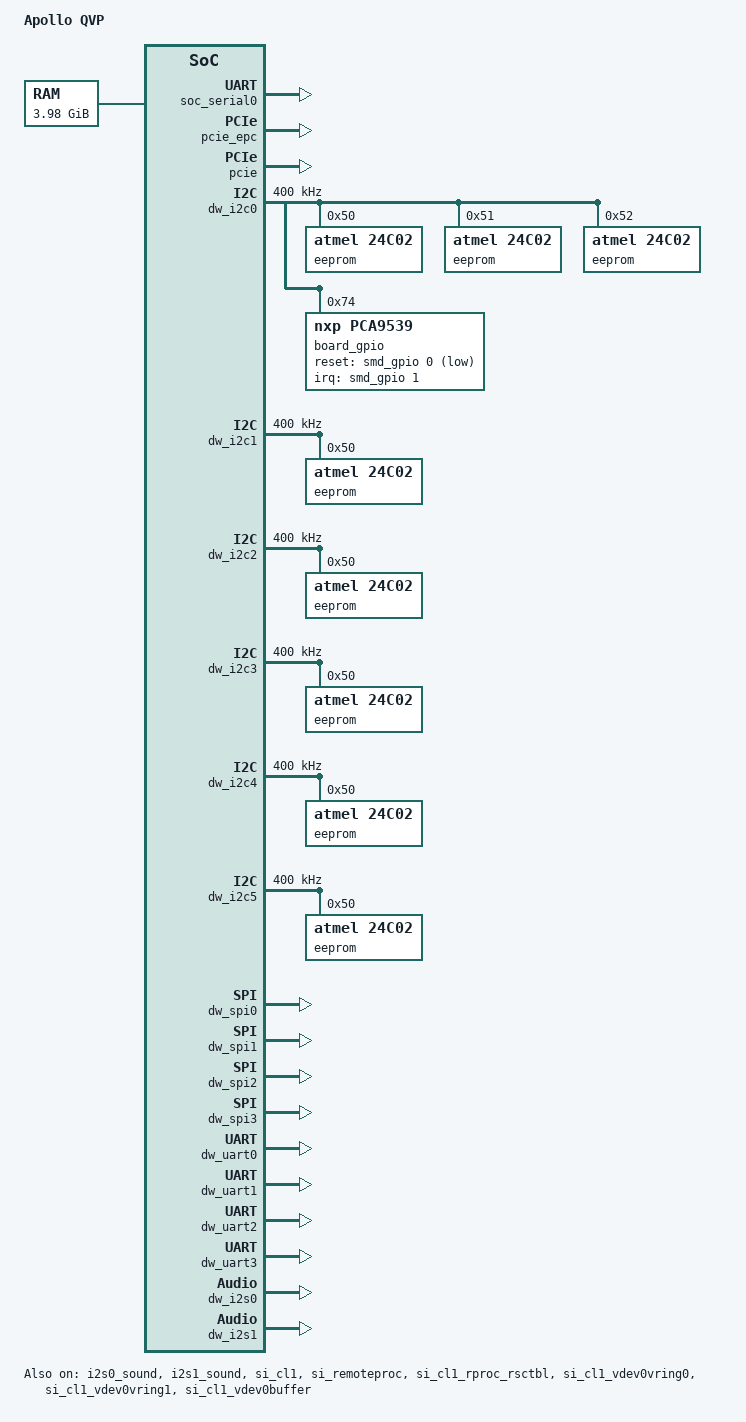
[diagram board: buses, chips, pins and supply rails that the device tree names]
// SPDX-License-Identifier: (GPL-2.0 OR BSD-3-Clause)
/*
 * Copyright (c) 2025-2026, Arm Limited. All rights reserved.
 */

/dts-v1/;

#include "apollo-qvp.dtsi"
#include <dt-bindings/gpio/gpio.h>

/*
 * Existing QVP population; Saturn-V schematic parity is unverified.
 * TPS6594 and its regulators/GPIO remain owned by SI CL0 firmware.
 */
/ {
	model = "Apollo QVP";
	compatible = "arm,apollo-qvp", "arm,zena-css", "arm,vexpress";

	aliases {
		i2c0 = &dw_i2c0;
		i2c1 = &dw_i2c1;
		i2c2 = &dw_i2c2;
		i2c3 = &dw_i2c3;
		i2c4 = &dw_i2c4;
		i2c5 = &dw_i2c5;
		rtc0 = &{/soc/rtc@300d0000};
		serial0 = &dw_uart0;
		serial1 = &dw_uart1;
		serial2 = &dw_uart2;
		serial3 = &dw_uart3;
		spi0 = &dw_spi0;
		spi1 = &dw_spi1;
		spi2 = &dw_spi2;
		spi3 = &dw_spi3;
	};

	chosen {
		stdout-path = &soc_serial0;
	};

	memory@80000000 {
		device_type = "memory";

		/* ~2GB mapped at 2GB, another 2GB at 2TB */
		reg = <0x00000000 0x80000000 0x00000000 0x7f000000>,
		      <0x00000200 0x00000000 0x00000000 0x80000000>;
	};
};

&soc_serial0 {
	status = "okay";
};

&smd_gpio {
	gpio-line-names =
		"smd-gpio0", "smd-gpio1", "smd-gpio2", "smd-gpio3",
		"smd-gpio4", "smd-gpio5", "smd-gpio6", "smd-gpio7";

	status = "okay";
};

&pcie_epc {
	status = "okay";
};

&pcie {
	status = "okay";
};

&smmu {
	status = "okay";
};

&dma350_0 {
	status = "okay";
};

&dma350_1 {
	status = "okay";
};

&dw_i2c0 {
	clock-frequency = <400000>;
	pinctrl-names = "default";
	pinctrl-0 = <&i2c0_pins>;

	status = "okay";

	eeprom@50 {
		compatible = "atmel,24c02";
		reg = <0x50>;
		pagesize = <8>;
	};

	/* Three independent 24C02 targets share this controller. */
	eeprom@51 {
		compatible = "atmel,24c02";
		reg = <0x51>;
		pagesize = <8>;
	};

	eeprom@52 {
		compatible = "atmel,24c02";
		reg = <0x52>;
		pagesize = <8>;
	};

	board_gpio: gpio@74 {
		compatible = "nxp,pca9539";
		reg = <0x74>;
		gpio-controller;
		#gpio-cells = <2>;
		interrupt-controller;
		#interrupt-cells = <2>;
		interrupt-parent = <&smd_gpio>;
		interrupts = <1 IRQ_TYPE_LEVEL_LOW>;
		reset-gpios = <&smd_gpio 0 GPIO_ACTIVE_LOW>;
		gpio-line-names =
			"pca9539-loop-out0", "pca9539-loop-in1",
			"pca9539-gpio2", "pca9539-gpio3",
			"pca9539-gpio4", "pca9539-gpio5",
			"pca9539-gpio6", "pca9539-gpio7",
			"pca9539-loop-out8", "pca9539-loop-in9",
			"pca9539-gpio10", "pca9539-gpio11",
			"pca9539-gpio12", "pca9539-gpio13",
			"pca9539-gpio14", "pca9539-gpio15";
	};
};

&dw_i2c1 {
	clock-frequency = <400000>;
	pinctrl-names = "default";
	pinctrl-0 = <&i2c1_pins>;

	status = "okay";

	eeprom@50 {
		compatible = "atmel,24c02";
		reg = <0x50>;
		pagesize = <8>;
	};
};

&dw_i2c2 {
	clock-frequency = <400000>;
	pinctrl-names = "default";
	pinctrl-0 = <&i2c2_pins>;

	status = "okay";

	eeprom@50 {
		compatible = "atmel,24c02";
		reg = <0x50>;
		pagesize = <8>;
	};
};

&dw_i2c3 {
	clock-frequency = <400000>;
	pinctrl-names = "default";
	pinctrl-0 = <&i2c3_pins>;

	status = "okay";

	eeprom@50 {
		compatible = "atmel,24c02";
		reg = <0x50>;
		pagesize = <8>;
	};
};

&dw_i2c4 {
	clock-frequency = <400000>;
	pinctrl-names = "default";
	pinctrl-0 = <&i2c4_pins>;

	status = "okay";

	eeprom@50 {
		compatible = "atmel,24c02";
		reg = <0x50>;
		pagesize = <8>;
	};
};

&dw_i2c5 {
	clock-frequency = <400000>;
	pinctrl-names = "default";
	pinctrl-0 = <&i2c5_pins>;

	status = "okay";

	eeprom@50 {
		compatible = "atmel,24c02";
		reg = <0x50>;
		pagesize = <8>;
	};
};

&dw_spi0 {
	num-cs = <1>;
	pinctrl-names = "default";
	pinctrl-0 = <&spi0_pins>;

	status = "okay";
};

&dw_spi1 {
	num-cs = <1>;
	pinctrl-names = "default";
	pinctrl-0 = <&spi1_pins>;

	status = "okay";
};

&dw_spi2 {
	num-cs = <1>;
	pinctrl-names = "default";
	pinctrl-0 = <&spi2_pins>;

	status = "okay";
};

&dw_spi3 {
	num-cs = <1>;
	pinctrl-names = "default";
	pinctrl-0 = <&spi3_pins>;

	status = "okay";
};

&dw_uart0 {
	pinctrl-names = "default";
	pinctrl-0 = <&uart0_pins>;

	status = "okay";
};

&dw_uart1 {
	pinctrl-names = "default";
	pinctrl-0 = <&uart1_pins>;

	status = "okay";
};

&dw_uart2 {
	pinctrl-names = "default";
	pinctrl-0 = <&uart2_pins>;

	status = "okay";
};

&dw_uart3 {
	pinctrl-names = "default";
	pinctrl-0 = <&uart3_pins>;

	status = "okay";
};

&dw_i2s0 {
	pinctrl-names = "default";
	pinctrl-0 = <&i2s0_pins>;

	status = "okay";
};

&dw_i2s1 {
	pinctrl-names = "default";
	pinctrl-0 = <&i2s1_pins>;

	status = "okay";
};

&pinctrl_peri0 {
	status = "okay";
};

&pinctrl_peri1 {
	status = "okay";
};

&i2s0_sound {
	status = "okay";
};

&i2s1_sound {
	status = "okay";
};

/* Keep every reserved buffer and its remoteproc/mailbox consumer available. */
&si_cl1 {
	status = "okay";
};

&si_remoteproc {
	status = "okay";
};

&si_cl1_rproc_rsctbl {
	status = "okay";
};

&si_cl1_vdev0vring0 {
	status = "okay";
};

&si_cl1_vdev0vring1 {
	status = "okay";
};

&si_cl1_vdev0buffer {
	status = "okay";
};

&si_cl1_mbox_rproc_tx {
	status = "okay";
};

&si_cl1_mbox_rproc_rx {
	status = "okay";
};

/* Board pin electrical settings and Linux GPIO line names. */
&peri0_bank0 {
	gpio-line-names = "gp_peri0_0", "gp_peri0_1",
			  "gp_peri0_2", "gp_peri0_3",
			  "gp_peri0_4", "gp_peri0_5",
			  "gp_peri0_6", "gp_peri0_7";
};

&peri0_bank1 {
	gpio-line-names = "gp_peri0_8", "gp_peri0_9",
			  "gp_peri0_10", "gp_peri0_11",
			  "gp_peri0_12", "gp_peri0_13",
			  "gp_peri0_14", "gp_peri0_15";
};

&peri0_bank2 {
	gpio-line-names = "gp_peri0_16", "gp_peri0_17",
			  "gp_peri0_18", "gp_peri0_19",
			  "gp_peri0_20", "gp_peri0_21",
			  "gp_peri0_22", "gp_peri0_23";
};

&peri0_bank3 {
	gpio-line-names = "gp_peri0_24", "gp_peri0_25",
			  "gp_peri0_26", "gp_peri0_27",
			  "gp_peri0_28", "gp_peri0_29",
			  "gp_peri0_30", "gp_peri0_31";
};

&peri0_bank4 {
	gpio-line-names = "gp_peri0_32", "gp_peri0_33",
			  "gp_peri0_34", "gp_peri0_35",
			  "gp_peri0_36", "gp_peri0_37",
			  "gp_peri0_38", "gp_peri0_39";
};

&peri0_bank5 {
	gpio-line-names = "gp_peri0_40", "gp_peri0_41",
			  "gp_peri0_42", "gp_peri0_43",
			  "gp_peri0_44", "gp_peri0_45",
			  "gp_peri0_46", "gp_peri0_47";
};

&peri0_bank6 {
	gpio-line-names = "gp_peri0_48";
};

&peri0_bank7 {
	gpio-line-names = "gp_peri0_49";
};

&peri0_bank8 {
	gpio-line-names = "gp_peri0_50";
};

&peri0_bank9 {
	gpio-line-names = "gp_peri0_51";
};

&peri0_bank10 {
	gpio-line-names = "gp_peri0_52";
};

&peri0_bank11 {
	gpio-line-names = "gp_peri0_53";
};

&peri0_bank12 {
	gpio-line-names = "gp_peri0_54";
};

&peri0_bank13 {
	gpio-line-names = "gp_peri0_55";
};

&i2c0_pins {
	hsoc,drive-strength = <1>;
	input-enable;
};

&i2c1_pins {
	hsoc,drive-strength = <1>;
	input-enable;
};

&i2c2_pins {
	hsoc,drive-strength = <1>;
	input-enable;
};

&i2c3_pins {
	hsoc,drive-strength = <1>;
	input-enable;
};

&i2c4_pins {
	hsoc,drive-strength = <1>;
	input-enable;
};

&i2c5_pins {
	hsoc,drive-strength = <1>;
	input-enable;
};

&spi0_pins {
	hsoc,drive-strength = <3>;
	input-enable;
};

&spi1_pins {
	hsoc,drive-strength = <3>;
	input-enable;
};

&i2s0_pins {
	hsoc,drive-strength = <2>;
	input-enable;
};

&i2s1_pins {
	hsoc,drive-strength = <2>;
	input-enable;
};

&uart0_pins {
	hsoc,drive-strength = <1>;
	input-enable;
};

&uart1_pins {
	hsoc,drive-strength = <1>;
	input-enable;
};

&peri1_bank0 {
	gpio-line-names = "gp_peri1_0", "gp_peri1_1",
			  "gp_peri1_2", "gp_peri1_3",
			  "gp_peri1_4", "gp_peri1_5",
			  "gp_peri1_6", "gp_peri1_7";
};

&peri1_bank1 {
	gpio-line-names = "gp_peri1_8", "gp_peri1_9",
			  "gp_peri1_10", "gp_peri1_11",
			  "gp_peri1_12", "gp_peri1_13",
			  "gp_peri1_14", "gp_peri1_15";
};

&peri1_bank2 {
	gpio-line-names = "gp_peri1_16", "gp_peri1_17",
			  "gp_peri1_18", "gp_peri1_19",
			  "gp_peri1_20", "gp_peri1_21",
			  "gp_peri1_22", "gp_peri1_23";
};

&peri1_bank3 {
	gpio-line-names = "gp_peri1_24", "gp_peri1_25",
			  "gp_peri1_26", "gp_peri1_27",
			  "gp_peri1_28", "gp_peri1_29",
			  "gp_peri1_30", "gp_peri1_31";
};

&peri1_bank4 {
	gpio-line-names = "gp_peri1_32";
};

&peri1_bank5 {
	gpio-line-names = "gp_peri1_33";
};

&peri1_bank6 {
	gpio-line-names = "gp_peri1_34";
};

&peri1_bank7 {
	gpio-line-names = "gp_peri1_35";
};

&spi2_pins {
	hsoc,drive-strength = <3>;
	input-enable;
};

&spi3_pins {
	hsoc,drive-strength = <3>;
	input-enable;
};

&uart2_pins {
	hsoc,drive-strength = <1>;
	input-enable;
};

&uart3_pins {
	hsoc,drive-strength = <1>;
	input-enable;
};
